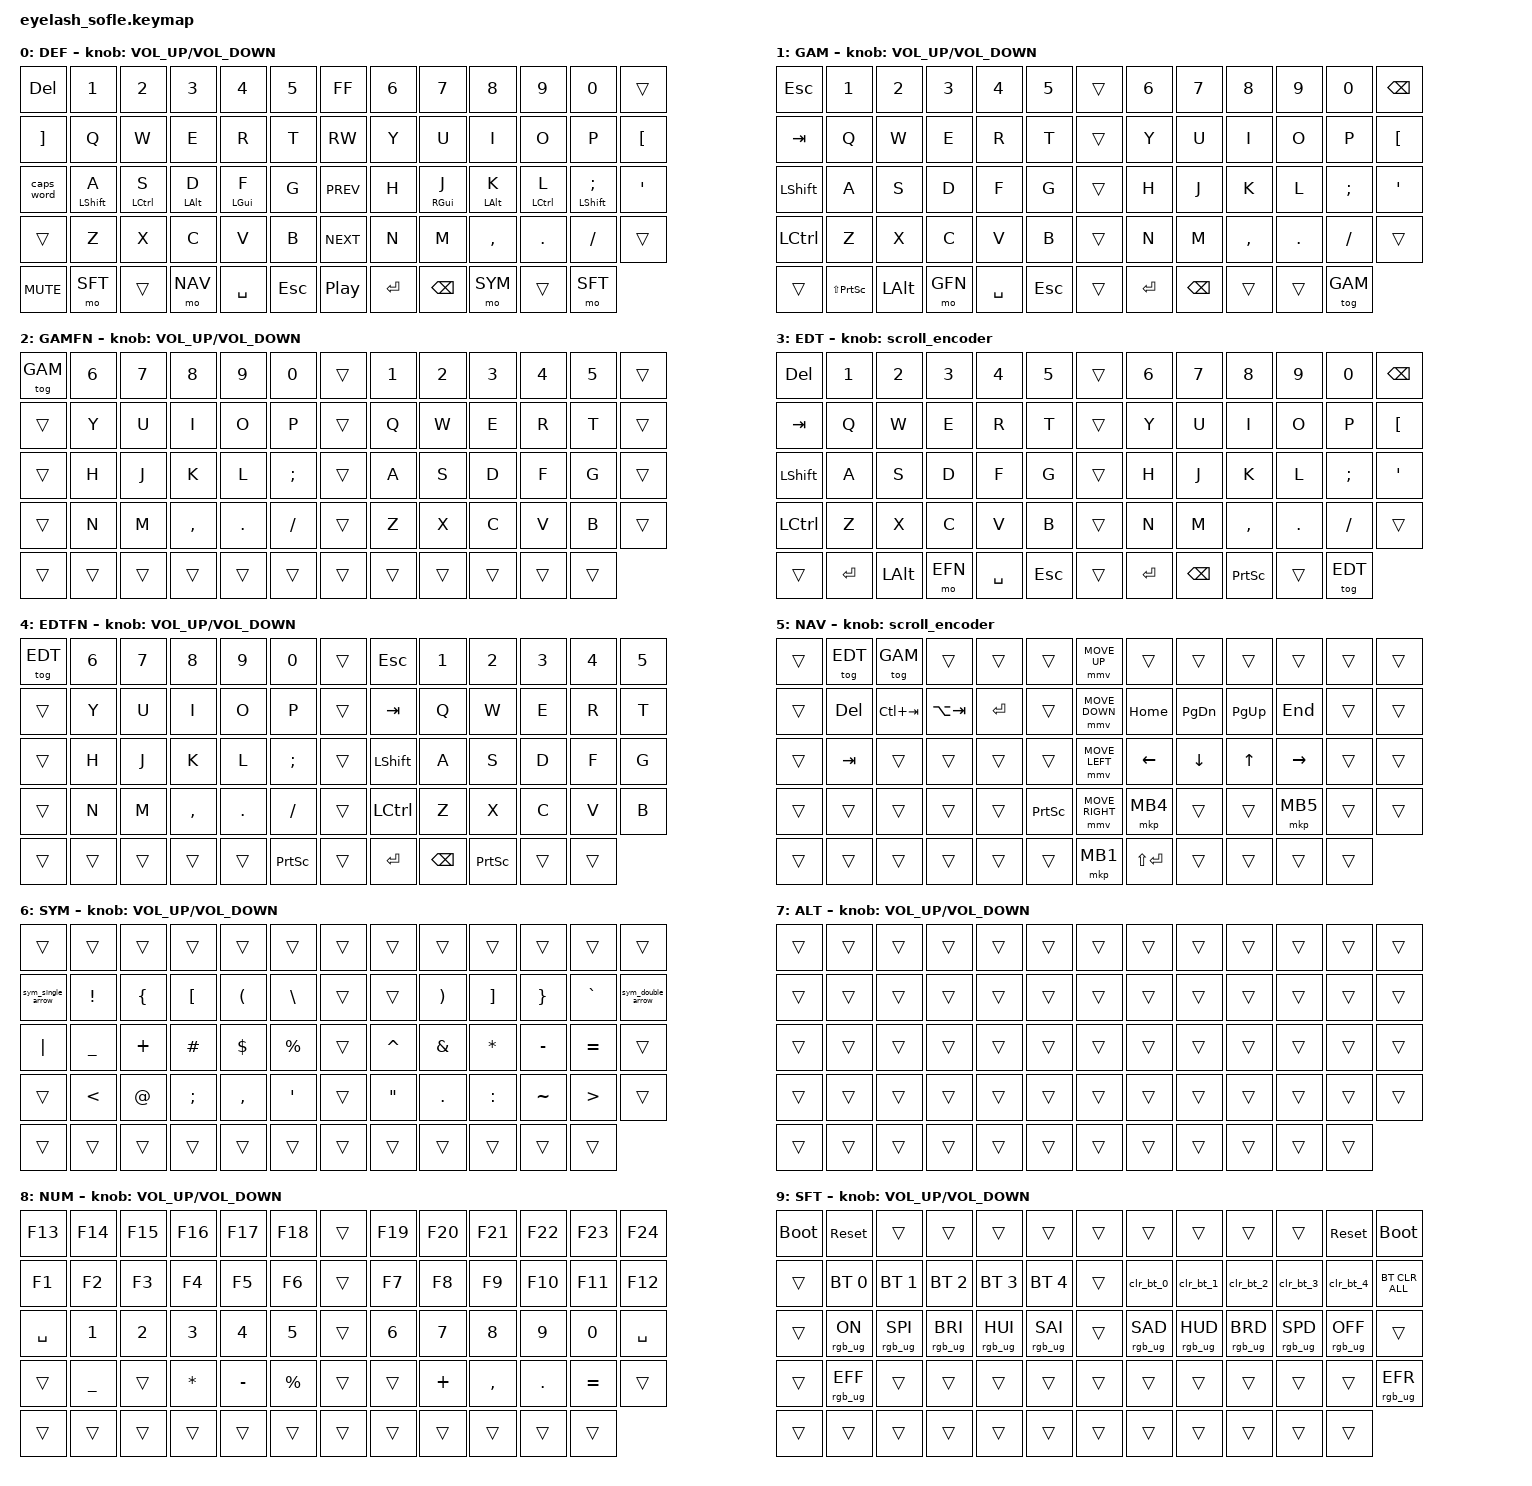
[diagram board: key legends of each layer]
#define ZMK_POINTING_DEFAULT_MOVE_VAL 1200  // 600
#define ZMK_POINTING_DEFAULT_SCRL_VAL 25   // 10

#include <input/processors.dtsi>
#include <zephyr/dt-bindings/input/input-event-codes.h>
#include <behaviors.dtsi>
#include <dt-bindings/zmk/bt.h>
#include <dt-bindings/zmk/keys.h>
#include <dt-bindings/zmk/outputs.h>
#include <dt-bindings/zmk/pointing.h>
#include <dt-bindings/zmk/rgb.h>


// 6T - id 6 (top),
// 19B - id 19 (bottom)
// 32L - id 32 (left)
// 45R - id 45 (right)
// 58P - id 58 (push)
//
// 52S - id 52 (roller push)
//

// just an example of keymap for reference
// |----+----+----+----+----+----+--------+----+----+----+----+----+----|
// |  0 |  1 |  2 |  3 |  4 |  5 |  6T    |  7 |  8 |  9 | 10 | 11 | 12 |
// |  T | N1 | N2 | N3 | N4 | N5 | C_FF   | N6 | N7 | N8 | N9 | N0 |  T |
// |----+----+----+----+----+----+--------+----+----+----+----+----+----|
// | 13 | 14 | 15 | 16 | 17 | 18 |  19B   | 20 | 21 | 22 | 23 | 24 | 25 |
// | RB |  Q |  W |  E |  R |  T | C_RW   |  Y |  U |  I |  O |  P | LB |
// |----+----+----+----+----+----+--------+----+----+----+----+----+----|
// | 26 | 27 | 28 | 29 | 30 | 31 |  32L   | 33 | 34 | 35 | 36 | 37 | 38 |
// | CW |  A |  S |  D |  F |  G |C_PREV  |  H |  J |  K |  L |  ; |  ' |
// |----+----+----+----+----+----+--------+----+----+----+----+----+----|
// | 39 | 40 | 41 | 42 | 43 | 44 |  45R   | 46 | 47 | 48 | 49 | 50 | 51 |
// |  T |  Z |  X |  C |  V |  B |C_NEXT  |  N |  M |  , |  . |  / |  T |
// |----+----+----+----+----+----+--------+----+----+----+----+----+----|
// | 52RP | | 53 | 54 | 55 | 56 | 57 | 58P | 59 | 60 | 61 | 62 | 63 |
// | M    | | LA | LC |NAV | SP | ES | PLY | RT | BS |SYM | T  | T  |

//
// 7, 20, 33, 46, 59 - dpad/stick
// 53 - encoder

// +------------------full--template------------------+
// | __ __ __ __ __ __ ** | __ | ** __ __ __ __ __ __ |
// | __ __ __ __ __ __ ** | __ | ** __ __ __ __ __ __ |
// | __ __ __ __ __ __ ** | __ | ** __ __ __ __ __ __ |
// | __ __ __ __ __ __ ** | __ | ** __ __ __ __ __ __ |
// | __ ** __ __ __ __ __ | __ | __ __ __ __ __ ** ** |
// +--------------------------------------------------+

// +----------------short---template-------------+
// | __ __ __ __ __ __ ** | ** __ __ __ __ __ __ |
// | __ __ __ __ __ __ ** | ** __ __ __ __ __ __ |
// | __ __ __ __ __ __ ** | ** __ __ __ __ __ __ |
// | __ __ __ __ __ __ ** | ** __ __ __ __ __ __ |
// | ** ** __ __ __ __ __ | __ __ __ __ __ ** ** |
// +---------------------------------------------+

// keycodes groups
#define KC_LEFT_HAND    1  2  3  4  5  6  14 15 16 17 18 19 27 28 29 30 31 32 40 41 42 43 44 45
#define KC_RIGHT_HAND   8  9  10 11 12 13 21 22 23 24 25 26 34 35 36 37 38 39 47 48 49 50 51 52
#define KC_LEFT_THUMBS  54 55 56 57 58
#define KC_RIGHT_THUMBS 60 61 62 63 64
#define KC_STICK        7  20 33 46 59
#define KC_ENCODER      53

// layers
#define DEF 0 // default layer
#define GAM 1 // game layer
#define GFN 2 // game function layer
#define EDT 3 // editing (Krita, video editors)
#define EFN 4 // editing function (keys from other half of the symbols)
#define NAV 5 // navigation layer
#define SYM 6 // symbols layer
#define ALT 7 // navigation layer
#define NUM 8 // numbers layer
#define SFT 9 // soft functions layer (underglow, bluetooth, etc.)

#define CLR_BT_PROFILE(name, num)          \
    name: name {                           \
        compatible = "zmk,behavior-macro"; \
        #binding-cells = <0>;              \
        bindings =                         \
            <&bt BT_SEL num>,              \
            <&macro_wait_time 150>,        \
            <&bt BT_CLR>;                  \
    };

#define SIMPLE_COMBO(NAME, BINDING, POSITIONS) \
    NAME {                                     \
        timeout-ms = <30>;                     \
        bindings = <BINDING>;                  \
        key-positions = <POSITIONS>;           \
    };

#define SIMPLE_MACRO(name, ...)                                              \
    name: name {                                                          \
        compatible = "zmk,behavior-macro";                                \
        #binding-cells = <0>;                                             \
        bindings = <&macro_press __VA_ARGS__ &macro_release __VA_ARGS__>; \
    };


&mmv_input_listener { input-processors = <&zip_xy_scaler 2 1>; };
&msc_input_listener { input-processors = <&zip_scroll_scaler 2 1>; };
&msc {
    acceleration-exponent = <0>;      // 0
    time-to-max-speed-ms = <0>;       // 300
    delay-ms = <0>;                   // 0
};
&mmv {
    time-to-max-speed-ms = <200>;
    acceleration-exponent = <1>;
    trigger-period-ms = <16>;
};
&soft_off { hold-time-ms = <2000>; };

/ {
    behaviors {
      scroll_encoder: scroll_encoder {
          compatible = "zmk,behavior-sensor-rotate";
          #sensor-binding-cells = <0>;
          bindings = <&msc SCRL_DOWN>, <&msc SCRL_UP>;

          // tap-ms = <100>;
      };

      hrm_r_short: home_row_mod_right_short {
          compatible = "zmk,behavior-hold-tap";
          bindings = <&kp &kp>;

          #binding-cells = <2>;
          flavor = "balanced";
          require-prior-idle-ms = <50>;
          quick-tap-ms = <135>;
          tapping-term-ms = <220>;
          hold-trigger-key-positions = <0 1 2 3 4 5 13 14 15 16 17 18 26 27 28 29 30 31 41 42 43 44 39 40 53 54 55 56 57 59 60 61 62 63 42 54>;
          /* hold-trigger-key-positions = <KC_LEFT_HAND KC_LEFT_THUMBS KC_RIGHT_THUMBS KC_STICK KC_ENCODER>;  */
          hold-trigger-on-release;
      };

      hrm_l_short: home_row_mod_left_short {
          compatible = "zmk,behavior-hold-tap";
          bindings = <&kp &kp>;

          #binding-cells = <2>;
          flavor = "balanced";
          require-prior-idle-ms = <50>;
          quick-tap-ms = <135>;
          tapping-term-ms = <220>;
          hold-trigger-on-release;
          /* hold-trigger-key-positions = <KC_RIGHT_HAND KC_LEFT_THUMBS KC_RIGHT_THUMBS KC_STICK KC_ENCODER>;  */
          hold-trigger-key-positions = <7 8 9 10 11 12 20 21 22 23 24 25 33 34 35 36 37 38 46 47 48 49 50 51 53 54 55 56 57 59 60 61 62 63>;
      };

      hrm_r: home_row_mod_right {
          compatible = "zmk,behavior-hold-tap";
          bindings = <&kp &kp>;

          #binding-cells = <2>;
          flavor = "balanced";
          require-prior-idle-ms = <90>;
          quick-tap-ms = <135>;
          tapping-term-ms = <220>;
          hold-trigger-key-positions = <0 1 2 3 4 5 13 14 15 16 17 18 26 27 28 29 30 31 41 42 43 44 39 40 53 54 55 56 57 59 60 61 62 63 42 54>;
          /* hold-trigger-key-positions = <KC_LEFT_HAND KC_LEFT_THUMBS KC_RIGHT_THUMBS KC_STICK KC_ENCODER>;  */
          hold-trigger-on-release;
      };

      hrm_l: home_row_mod_left {
          compatible = "zmk,behavior-hold-tap";
          bindings = <&kp &kp>;

          #binding-cells = <2>;
          flavor = "balanced";
          require-prior-idle-ms = <90>;
          quick-tap-ms = <135>;
          tapping-term-ms = <220>;
          hold-trigger-on-release;
          /* hold-trigger-key-positions = <KC_RIGHT_HAND KC_LEFT_THUMBS KC_RIGHT_THUMBS KC_STICK KC_ENCODER>;  */
          hold-trigger-key-positions = <7 8 9 10 11 12 20 21 22 23 24 25 33 34 35 36 37 38 46 47 48 49 50 51 53 54 55 56 57 59 60 61 62 63>;
      };
    };


    combos {
        compatible = "zmk,combos";

        SIMPLE_COMBO(combo_lang_switch, &macro_lang_switch, 15 16 17)

        SIMPLE_COMBO(combo_softoff, &soft_off, 0 12 53 63)

        SIMPLE_COMBO(combo_undo,       &kp LC(Z),     40 41)
        SIMPLE_COMBO(combo_redo,       &kp LC(LS(Z)), 40 41 42)
        SIMPLE_COMBO(combo_copy,       &kp LC(C),     41 42)
        SIMPLE_COMBO(combo_cut,        &kp LC(X),     41 43)
        SIMPLE_COMBO(combo_paste,      &kp LC(V),     42 43)
        SIMPLE_COMBO(combo_select_all, &kp LC(A),     27 43)
    };

    macros {
        SHIFT_MCLK: SHIFT_MCLK {
            compatible = "zmk,behavior-macro";
            #binding-cells = <0>;
            bindings =
                <&macro_press>,
                <&kp LEFT_SHIFT>,
                <&macro_press>,
                <&mkp MB3>,
                <&macro_pause_for_release>,
                <&macro_release>,
                <&kp LEFT_SHIFT &mkp MB3>;

            label = "SHIFT_MCLK";
        };

        SIMPLE_MACRO(macro_lang_switch, &kp LSHIFT &kp LALT) // LSHIFT + LALT lang switch
        SIMPLE_MACRO(sym_single_arrow, &kp MINUS &kp GT) // send "->"
        SIMPLE_MACRO(sym_double_arrow, &kp EQUAL &kp GT) // send "=>"

        scroll_down_with_lshift: scroll_down_with_lshift {
            compatible = "zmk,behavior-macro";
            #binding-cells = <0>;
            bindings = <
                &macro_press   &kp LSHIFT
                &macro_tap     &msc SCRL_DOWN
                &macro_release &kp LSHIFT
            >;
        };

        scroll_up_with_lshift: scroll_up_with_lshift {
            compatible = "zmk,behavior-macro";
            #binding-cells = <0>;
            bindings = <
                &macro_press   &kp LSHIFT
                &macro_tap     &msc SCRL_UP
                &macro_release &kp LSHIFT
            >;
        };

        CLR_BT_PROFILE(clr_bt_0, 0)
        CLR_BT_PROFILE(clr_bt_1, 1)
        CLR_BT_PROFILE(clr_bt_2, 2)
        CLR_BT_PROFILE(clr_bt_3, 3)
        CLR_BT_PROFILE(clr_bt_4, 4)
    };

    conditional_layers {
        compatible = "zmk,conditional-layers";
        tri_layer {
            if-layers  = <NAV SYM>;
            then-layer = <NUM>;
        };
    };

    keymap {
        compatible = "zmk,keymap";


        // id: 0
        default_layer {
            display-name = "DEF";
            sensor-bindings = <&inc_dec_kp C_VOLUME_UP C_VOLUME_DOWN>;
            bindings = <
            /*&1         &2                    &3                             &4                &5            &6      &STICK           &7      &8                 &9                &10                   &11                           &12*/
              &kp DELETE &kp N1                &kp N2                         &kp N3            &kp N4        &kp N5  &kp C_FF         &kp N6  &kp N7             &kp N8            &kp N9                &kp N0                        &trans
              &kp RBKT   &kp Q                 &kp W                          &kp E             &kp R         &kp T   &kp C_RW         &kp Y   &kp U              &kp I             &kp O                 &kp P                         &kp LBKT
              &caps_word &hrm_l_short LSHIFT A &hrm_l LEFT_CONTROL S          &hrm_l LEFT_ALT D &hrm_l LGUI F &kp G   &kp C_PREV       &kp H   &hrm_r RIGHT_GUI J &hrm_r LEFT_ALT K &hrm_r LEFT_CONTROL L &hrm_r_short LSHIFT SEMICOLON &kp SQT
              &trans     &kp Z                 &kp X                          &kp C             &kp V         &kp B   &kp C_NEXT       &kp N   &kp M              &kp COMMA         &kp DOT               &kp FSLH                      &trans
            /*&-----     &-----                &-----                         &-----            &-----        &-----  &-----           &-----  &-----             &-----            &-----                &-----                        &-----*/
              &kp C_MUTE &mo SFT               &trans                         &mo NAV           &kp SPACE     &kp ESC &kp C_PLAY_PAUSE &kp RET &kp BACKSPACE      &mo SYM           &trans                &mo SFT
            >;
        };

        // id: 1
        gaming_layer {
            display-name = "GAM";
            sensor-bindings = <&inc_dec_kp C_VOLUME_UP C_VOLUME_DOWN>;
            bindings = <
            /*&1         &2            &3       &4       &5        &6        &STICK  &7      &8       &9        &10     &11      &12*/
              &kp ESC    &kp N1        &kp N2   &kp N3   &kp N4    &kp N5    &trans  &kp N6  &kp N7   &kp N8    &kp N9  &kp N0   &kp BACKSPACE
              &kp TAB    &kp Q         &kp W    &kp E    &kp R     &kp T     &trans  &kp Y   &kp U    &kp I     &kp O   &kp P    &kp LBKT
              &kp LSHIFT &kp A         &kp S    &kp D    &kp F     &kp G     &trans  &kp H   &kp J    &kp K     &kp L   &kp SEMI &kp SQT
              &kp LCTRL  &kp Z         &kp X    &kp C    &kp V     &kp B     &trans  &kp N   &kp M    &kp COMMA &kp DOT &kp FSLH &trans
            /*&-----     &-----        &-----   &-----   &-----    &-----    &-----  &-----  &-----   &-----    &-----  &-----   &-----*/
              &trans     &kp LS(PSCRN) &kp LALT &mo GFN  &kp SPACE &kp ESC   &trans  &kp RET &kp BSPC &trans    &trans  &tog GAM
            >;
        };

        // id: 2
        gaming_fn_layer {
            display-name = "GAMFN";
            sensor-bindings = <&inc_dec_kp C_VOLUME_UP C_VOLUME_DOWN>;
            bindings = <
                /*&1       &2     &3     &4       &5        &6       &STICK &7     &8     &9     &10    &11    &12*/
                  &tog GAM &kp N6 &kp N7 &kp N8   &kp N9    &kp N0   &trans &kp N1 &kp N2 &kp N3 &kp N4 &kp N5 &trans
                  &trans  &kp Y  &kp U  &kp I     &kp O     &kp P    &trans &kp Q  &kp W  &kp E  &kp R  &kp T  &trans
                  &trans  &kp H  &kp J  &kp K     &kp L     &kp SEMI &trans &kp A  &kp S  &kp D  &kp F  &kp G  &trans
                  &trans  &kp N  &kp M  &kp COMMA &kp DOT   &kp FSLH &trans &kp Z  &kp X  &kp C  &kp V  &kp B  &trans
                /*&-----  &----- &----- &-----    &-----    &-----   &----- &----- &----- &----- &----- &----- &-----*/
                  &trans  &trans &trans &trans    &trans    &trans   &trans &trans &trans &trans &trans &trans
            >;
        };

        // id: 3
        edit_layer {
            display-name = "EDT";
            sensor-bindings = <&scroll_encoder>;
            bindings = <
            /*&1         &2       &3       &4        &5        &6      &STICK &7      &8       &9        &10     &11           &12*/
              &kp DELETE &kp N1   &kp N2   &kp N3    &kp N4    &kp N5  &trans &kp N6  &kp N7   &kp N8    &kp N9  &kp N0        &kp BACKSPACE
              &kp TAB    &kp Q    &kp W    &kp E     &kp R     &kp T   &trans &kp Y   &kp U    &kp I     &kp O   &kp P         &kp LBKT
              &kp LSHIFT &kp A    &kp S    &kp D     &kp F     &kp G   &trans &kp H   &kp J    &kp K     &kp L   &kp SEMICOLON &kp SQT
              &kp LCTRL  &kp Z    &kp X    &kp C     &kp V     &kp B   &trans &kp N   &kp M    &kp COMMA &kp DOT &kp FSLH      &trans
            /*&-----     &-----   &-----   &-----    &-----    &-----  &----- &-----  &-----   &-----    &-----  &-----        &-----*/
              &trans     &kp RET &kp LALT &mo EFN   &kp SPACE &kp ESC &trans &kp RET &kp BSPC &kp PSCRN &trans  &tog EDT
            >;
        };

        // id: 4
        edit_fn_layer {
            display-name = "EDTFN";
            sensor-bindings = <&inc_dec_kp C_VOLUME_UP C_VOLUME_DOWN>;
            bindings = <
            /*&1      &2     &3     &4        &5        &6       &STICK &7      &8       &9        &10     &11           &12*/
              &tog EDT &kp N6 &kp N7 &kp N8    &kp N9    &kp N0   &trans &kp ESC    &kp N1   &kp N2   &kp N3    &kp N4    &kp N5
              &trans  &kp Y  &kp U  &kp I     &kp O     &kp P    &trans &kp TAB    &kp Q    &kp W    &kp E     &kp R     &kp T
              &trans  &kp H  &kp J  &kp K     &kp L     &kp SEMI &trans &kp LSHIFT &kp A    &kp S    &kp D     &kp F     &kp G
              &trans  &kp N  &kp M  &kp COMMA &kp DOT   &kp FSLH &trans &kp LCTRL  &kp Z    &kp X    &kp C     &kp V     &kp B
            /*&-----  &----- &----- &-----    &-----    &-----   &----- &-----  &-----   &-----    &-----  &-----        &-----*/
              &trans  &trans &trans &trans    &trans    &kp PSCRN  &trans &kp RET &kp BSPC &kp PSCRN &trans  &trans
            >;
        };

        // id: 5
        navigation_layer {
            display-name = "NAV";
            sensor-bindings = <&scroll_encoder>;
            bindings = <
            /*&1           &2            &3              &4          &5        &6        &STICK          &7          &8           &9        &10       &11           &12*/
              &trans       &tog EDT      &tog GAM        &trans      &trans    &trans    &mmv MOVE_UP    &trans      &trans       &trans    &trans    &trans        &trans
              &trans       &kp DELETE    &kp LC(TAB)     &kp LA(TAB) &kp RET   &trans    &mmv MOVE_DOWN  &kp HOME    &kp PG_DN    &kp PG_UP &kp END   &trans        &trans
              &trans       &kp TAB       &trans          &trans      &trans    &trans    &mmv MOVE_LEFT  &kp LEFT    &kp DOWN     &kp UP    &kp RIGHT &trans        &trans
              &trans       &trans        &trans          &trans      &trans    &kp PSCRN &mmv MOVE_RIGHT &mkp MB4    &trans       &trans    &mkp MB5  &trans        &trans
            /*&-----       &-----        &-----          &-----      &-----    &-----    &-----          &-----      &-----       &-----    &-----    &-----        &-----*/
              &trans       &trans        &trans          &trans      &trans    &trans    &mkp MB1        &kp LS(RET) &trans       &trans    &trans    &trans
            >;
        };

        // id: 6
        symbols_layer {
            display-name = "SYM";
            sensor-bindings = <&inc_dec_kp C_VOLUME_UP C_VOLUME_DOWN>;
            bindings = <
            /*&1                &2        &3       &4       &5        &6            &STICK &7        &8       &9        &10       &11       &12*/
              &trans            &trans    &trans   &trans   &trans    &trans        &trans &trans    &trans   &trans    &trans    &trans    &trans
              &sym_single_arrow &kp EXCL  &kp LBRC &kp LBKT &kp LPAR  &kp BACKSLASH &trans &trans    &kp RPAR &kp RBKT  &kp RBRC  &kp GRAVE &sym_double_arrow
              &kp PIPE          &kp UNDER &kp PLUS &kp HASH &kp DLLR  &kp PRCNT     &trans &kp CARET &kp AMPS &kp STAR  &kp MINUS &kp EQUAL &trans
              &trans            &kp LT    &kp AT   &kp SEMI &kp COMMA &kp SQT       &trans &kp DQT   &kp DOT  &kp COLON &kp TILDE &kp GT    &trans
            /*&-----            &-----    &-----   &-----   &-----    &-----        &----- &-----    &-----   &-----    &-----    &-----    &-----*/
              &trans            &trans    &trans   &trans   &trans    &trans        &trans &trans    &trans   &trans    &trans    &trans
            >;
        };

        // id: 7
        alt_layer {
            display-name = "ALT";
            sensor-bindings = <&inc_dec_kp C_VOLUME_UP C_VOLUME_DOWN>;
            bindings = <
            /*&1     &2     &3     &4     &5     &6     &STICK &7     &8     &9     &10    &11    &12*/
              &trans &trans &trans &trans &trans &trans &trans &trans &trans &trans &trans &trans &trans
              &trans &trans &trans &trans &trans &trans &trans &trans &trans &trans &trans &trans &trans
              &trans &trans &trans &trans &trans &trans &trans &trans &trans &trans &trans &trans &trans
              &trans &trans &trans &trans &trans &trans &trans &trans &trans &trans &trans &trans &trans
            /*&----- &----- &----- &----- &----- &----- &----- &----- &----- &----- &----- &----- &-----*/
              &trans &trans &trans &trans &trans &trans &trans &trans &trans &trans &trans &trans
            >;
        };

        // id: 8
        num_layer {
            display-name = "NUM";
            sensor-bindings = <&inc_dec_kp C_VOLUME_UP C_VOLUME_DOWN>;
            bindings = <
              &kp F13   &kp F14   &kp F15   &kp F16  &kp F17   &kp F18   &trans &kp F19   &kp F20  &kp F21   &kp F22   &kp F23   &kp F24
              &kp F1    &kp F2    &kp F3    &kp F4   &kp F5    &kp F6    &trans &kp F7    &kp F8   &kp F9    &kp F10   &kp F11   &kp F12
              &kp SPACE &kp N1    &kp N2    &kp N3   &kp N4    &kp N5    &trans &kp N6    &kp N7   &kp N8    &kp N9    &kp N0    &kp SPACE
              &trans    &kp UNDER &trans    &kp STAR &kp MINUS &kp PRCNT &trans &trans    &kp PLUS &kp COMMA &kp DOT   &kp EQUAL &trans
              /*&----- &----- &----- &----- &----- &----- &----- &----- &----- &----- &----- &----- &-----*/
              &trans    &trans    &trans    &trans   &trans    &trans    &trans &trans    &trans   &trans    &trans    &trans
            >;
        };
        // id: 9
        soft_layer {
            display-name = "SFT";
            sensor-bindings = <&inc_dec_kp C_VOLUME_UP C_VOLUME_DOWN>;
            bindings = <
             /*&1          &2              &3              &4              &5              &6              &STICK &7              &8              &9              &10             &11             &12*/
               &bootloader &sys_reset      &trans          &trans          &trans          &trans          &trans &trans          &trans          &trans          &trans          &sys_reset      &bootloader
               &trans      &bt BT_SEL 0    &bt BT_SEL 1    &bt BT_SEL 2    &bt BT_SEL 3    &bt BT_SEL 4    &trans &clr_bt_0       &clr_bt_1       &clr_bt_2       &clr_bt_3       &clr_bt_4       &bt BT_CLR_ALL
               &trans      &rgb_ug RGB_ON  &rgb_ug RGB_SPI &rgb_ug RGB_BRI &rgb_ug RGB_HUI &rgb_ug RGB_SAI &trans &rgb_ug RGB_SAD &rgb_ug RGB_HUD &rgb_ug RGB_BRD &rgb_ug RGB_SPD &rgb_ug RGB_OFF &trans
               &trans      &rgb_ug RGB_EFF &trans          &trans          &trans          &trans          &trans &trans          &trans          &trans          &trans          &trans          &rgb_ug RGB_EFR
             /*&-----      &-----          &-----          &-----          &-----          &-----          &----- &-----          &-----          &-----          &-----          &-----          &-----*/
               &trans      &trans          &trans          &trans          &trans          &trans          &trans &trans          &trans          &trans          &trans          &trans
            >;
        };

          // id: _id
          // name: _name
//        template_layer {
//            display-name = "TMP";
//            sensor-bindings = <&inc_dec_kp C_VOLUME_UP C_VOLUME_DOWN>;
//            bindings = <
//            /*&1     &2      &3     &4     &5     &6     &STICK &7     &8     &9     &10    &11    &12*/
//              &trans &trans  &trans &trans &trans &trans &trans &trans &trans &trans &trans &trans &trans
//              &trans &trans  &trans &trans &trans &trans &trans &trans &trans &trans &trans &trans &trans
//              &trans &trans  &trans &trans &trans &trans &trans &trans &trans &trans &trans &trans &trans
//              &trans &trans  &trans &trans &trans &trans &trans &trans &trans &trans &trans &trans &trans
//            /*&----- &-----  &----- &----- &----- &----- &----- &----- &----- &----- &----- &----- &-----*/
//              &trans &trans  &trans &trans &trans &trans &trans &trans &trans &trans &trans &trans
//            >;
//        };
    };
};
